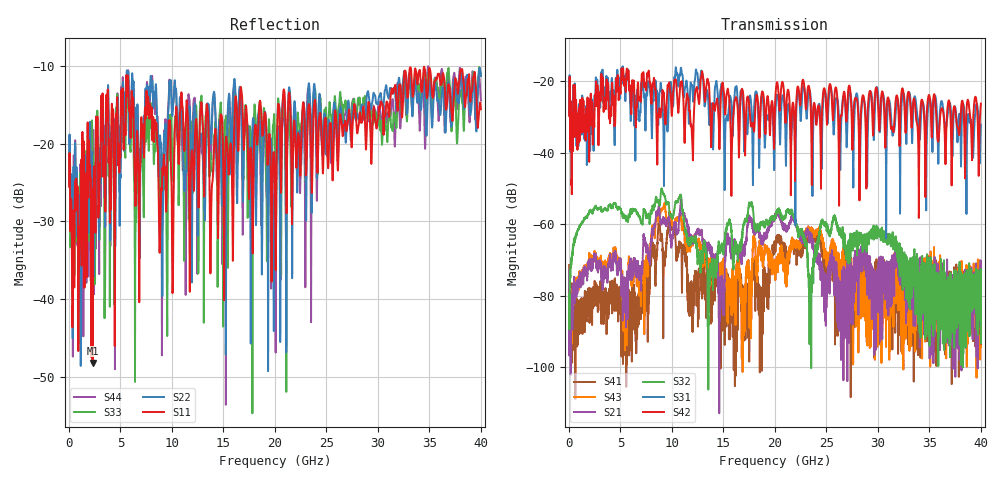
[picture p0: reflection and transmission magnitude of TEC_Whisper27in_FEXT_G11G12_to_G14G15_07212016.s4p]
! TE Connectivity
! G11G12-G14G15_FEXT
!! PART DESCRIPTION: Whisper 27in Megtron 6 HVLP-HVLP-HVLP Channel Model, bulkhead 2.92mm test points
!! MODEL DESCRIPTION: System 4-port S-parameter
!! MODEL STATUS: Measured
!! MODEL GEOMETRY: Channel Model
!! MODEL FREQUENCY RANGE: DC to 40 GHz in 10 MHz frequency steps
!! MODEL EDGE RATE LIMITATION: 12.5 ps (Using conservative 0.5/Fmax rule of thumb)
!! TIME-DOMAIN TRANSFORM CAUTIONS:
!! 1.) Do not simulate transient edge rates faster than the number listed above.  Edge
!!  rates faster than this number contain significant spectral content at frequencies
!!  above the model's highest frequency.
!! 2.) Even when simulating edge rates that are slower than the number listed above, be
!!  aware that the best time resolution possible with a direct iFFT is (1 / 2Fmax).
!!  As a result, time resolution is typically not adequate for most time-domain
!!  simulations unless tricks such as frequency-domain zero-padding and windowing are
!!  used to minimize leakage and aliasing.
!! 3.) Because the model has a uniform frequency step, a direct iFFT will result in an
!!  impulse that that has a time length given by either (1 / Fstep) or (1 / 2Fstep),
!!  depending on the transform being used.  Care has been taken in selecting the
!!  frequency step to ensure a settled impulse response for the model.  Therefore,
!!  convolution with the model's impulse response should present no issues.  However,
!!  if directly concatenating s-parameter models in the frequency domain a user must
!!  either interpolate necessary interim frequencies or complete impulse response
!!  zero-padding.  Impulse response zero-padding is more difficult, but more accurate.
!! PORT DEFINITIONS:
!! Port  1  ----->  Side A  G11  G14  Side B  <-----  Port  2
!! Port  3  ----->  Side A  G12  G15  Side B  <-----  Port  4
! Point-to-Point link (differential)  !
! Connectors:  !
!  1: STRADA Whisper 3.9mm  !
! Materials:  !
!  Backplane: Megtron-6 HVLP  !
!  Daughtercard: Megtron-6 HVLP  !
! Stack-up:  !
!  Backplane: 20 layers, 190mil thick  !
!  Daughtercard: 14 layers, 110mil thick  !
! Trace Length:  !
!  Backplane: 17in  !
!  Daughtercards: 5in  !
! Trace Width:  !
!  Backplane: 5.75-6.25-5.75 mils  !
!  Daughtercards: 6-9-6 mils  !
! Geometry:  !
!  Backplane: Stripline  !
!  Daughtercards: Stripline  !
! Layer Connections:  !
!  Backplane: Layer 16, counterbored(1-6mil stub)  !
!  Daughtercard: Layer 9, counterbored(1-6mil stub) !
! Freq. Range: 0 GHz - 40 GHz  !
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# hz S ma R 50
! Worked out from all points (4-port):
!   4000 points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, 10 MHz to 40 GHz, reference 50 ohm
!   strongest paths, dB at 10 MHz, 10.01 GHz, 20.01 GHz, 30.01 GHz, 40 GHz:
!     S42: -29.7, -28.8, -26.6, -26.3, -26.2
!     S31: -29.4, -24.0, -32.1, -23.3, -32.1
!     S32: -79.7, -57.8, -58.4, -60.9, -93.3
!     S21: -72.8, -64.1, -57.3, -79.5, -79.1
!     S43: -78.5, -58.9, -71.4, -75.9, -94.3
!     S41: -71.4, -60.7, -67.9, -72.4, -74.8
!   lowest |S11| = -48.2 dB at 2.29 GHz (marker M1), VSWR 1.01, Z = 50.3 - j0.279 ohm
!   |S11| at or under -10 dB: start of sweep to end of sweep
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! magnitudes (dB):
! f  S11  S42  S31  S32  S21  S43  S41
! 10 MHz  -25.5  -29.7  -29.4  -79.7  -72.8  -78.5  -71.4
! 2.29 GHz  -48.2  -33.0  -29.9  -56.6  -72.4  -71.0  -78.2
! 9.9 GHz  -23.1  -24.7  -20.7  -57.6  -64.8  -58.1  -60.4
! 11.79 GHz  -26.2  -31.7  -20.9  -64.7  -62.8  -65.7  -79.9
! 23.49 GHz  -19.9  -29.1  -25.4  -77.6  -62.9  -61.1  -63.1
! 25.76 GHz  -17.8  -24.6  -31.7  -57.5  -70.1  -67.2  -70.3
! 40 GHz  -15.5  -26.2  -32.1  -93.3  -79.1  -94.3  -74.8
